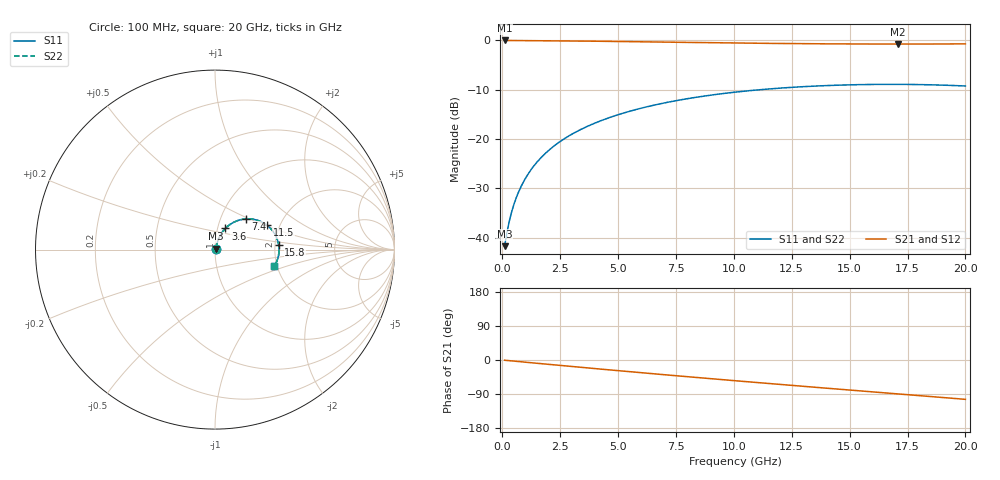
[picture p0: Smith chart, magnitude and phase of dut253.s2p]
! Touchstone file exported from HFSS 2026.1.0
!  File:  C:/ffzhzh/LocalFiles/Ansys_Project_Files/temp_train_TSV_RDL_253_1783068217_17544.aedt
!  Generated:  04:52:50 PM Jul  3, 2026
!  Design:  TSV_RDL
!  Project:  temp_train_TSV_RDL_253_1783068217_17544
! Variables:
!  h_bsmrdl = 3.13um
!  h_ox = 20um
!  h_rdl = 5um
!  h_sub = 57.34um
!  h_tmrdl = 5.71um
!  h_tsv = 57.34um
!  h_via = 3um
!  l_bsmrdl = 128.2um
!  l_sub = 1810.85um
!  l_tmrdl = 226.33um
!  m_sub = 200um
!  pitch = 44.96um
!  r_tsv = 11.64um
!  s_tmrdl = 10um
!  w_bsmrdl = 12.32um
!  w_sub = 500um
!  w_tmrdl = 27.99um
!  x_tsv_center1 = 240.325um
!  x_tsv_center2 = 380.845um
!  x_tsv_center3 = 635.165um
!  x_tsv_center4 = 775.685um
!  x_tsv_center5 = 1030.005um
!  x_tsv_center6 = 1170.525um
# GHz S MA R 50.000000
! Terminal data exported
! Port[1] = TM_RDL1_1_T1
! Port[2] = TM_RDL5_1_T1
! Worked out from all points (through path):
!   200 points, 100 MHz to 20 GHz, reference 50 ohm
!   highest |S21| = -0.06 dB at 100 MHz (marker M1); lowest = -0.8 dB at 17.1 GHz (marker M2)
!   group delay of S21, straight-line fit = 14.3 ps
!   lowest |S11| = -41.7 dB at 100 MHz (marker M3), VSWR 1.02, Z = 50.7 + j0.435 ohm
!   |S11| at or under -10 dB: start of sweep to 11.22 GHz
!   |S22| runs from -41.7 to -8.9 dB; largest |S21 - S12| = 3.4e-13
!   S11 on the Smith chart (normalised r, x): 100 MHz: 1.01, +0.01; 3.6 GHz: 1.09, +0.26; 7.4 GHz: 1.31, +0.48; 11.5 GHz: 1.72, +0.52; 15.8 GHz: 2.09, +0.13; 20 GHz: 1.93, -0.40
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0.1  0.008198 31.6  0.9931 -0.6  0.9931 -0.6  0.008198 31.6
! Gamma 0 0 0 0
! Port Impedance 50 0 50 0
0.2  0.01121 48.2  0.9927 -1.2  0.9927 -1.2  0.01121 48.2
0.3  0.01461 56.6  0.9923 -1.8  0.9923 -1.8  0.01461 56.6
0.5  0.02166 64.9  0.9917 -2.9  0.9917 -2.9  0.02166 64.9
0.6  0.02525 67.2  0.9914 -3.5  0.9914 -3.5  0.02525 67.2
0.8  0.03252 69.9  0.9909 -4.7  0.9909 -4.7  0.03252 69.9
1.2  0.04723 71.8  0.9897 -6.9  0.9897 -6.9  0.04723 71.8
1.7  0.06554 71.5  0.9879 -9.8  0.9879 -9.8  0.06554 71.5
2.2  0.08355 70.0  0.9858 -12.6  0.9858 -12.6  0.08355 70.0
2.8  0.1046 67.5  0.9828 -16.0  0.9828 -16.0  0.1046 67.5
3.5  0.1283 64.4  0.9789 -19.9  0.9789 -19.9  0.1283 64.4
3.6  0.1316 63.9  0.9783 -20.5  0.9783 -20.5  0.1316 63.9
5  0.1757 57.1  0.9696 -28.1  0.9696 -28.1  0.1757 57.1
6.8  0.2262 48.1  0.9574 -37.8  0.9574 -37.8  0.2262 48.1
7.4  0.2414 45.1  0.9532 -41.0  0.9532 -41.0  0.2414 45.1
10.1  0.2983 31.8  0.9356 -54.9  0.9356 -54.9  0.2983 31.8
11.5  0.3203 25.0  0.9279 -62.0  0.9279 -62.0  0.3203 25.0
13.4  0.3419 15.8  0.9197 -71.4  0.9197 -71.4  0.3419 15.8
15.8  0.3556 4.4  0.9139 -83.2  0.9139 -83.2  0.3556 4.5
16.7  0.3569 0.2  0.9132 -87.6  0.9132 -87.6  0.3569 0.2
17.1  0.3568 -1.7  0.9131 -89.5  0.9131 -89.5  0.3568 -1.7
20  0.3435 -15.5  0.9171 -103.8  0.9171 -103.8  0.3435 -15.4
